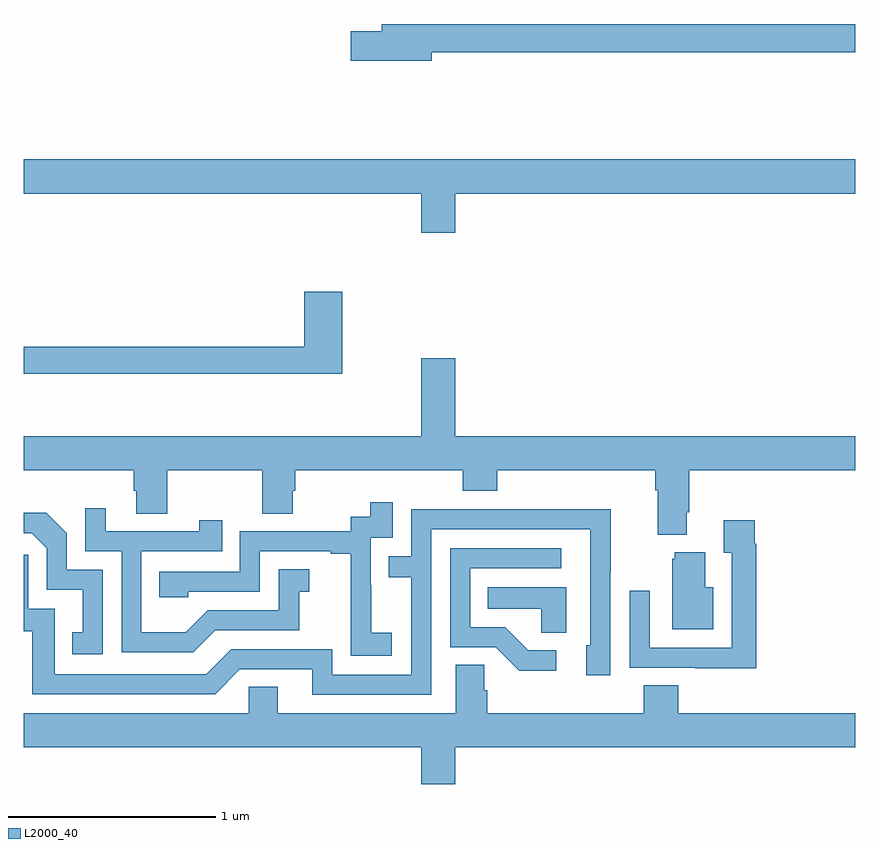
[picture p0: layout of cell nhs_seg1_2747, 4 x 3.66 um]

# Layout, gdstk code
import gdstk
lib = gdstk.Library(unit=1e-6, precision=1e-09)
def P(c, l, *ps):  # polygons
    for p in ps: c.add(gdstk.Polygon(p, *l))
L2000_40 = (2000, 40)

nhs_seg1_2747 = lib.new_cell('nhs_seg1_2747')
P(nhs_seg1_2747, L2000_40, [(260.962,577.72),(263,577.72),(263,577.856),(260.723,577.856),(260.723,577.82),(260.574,577.82),(260.574,577.678),(260.962,577.678)],
  [(261.076,577.04),(263,577.04),(263,577.204),(259,577.204),(259,577.04),(260.912,577.04),(260.912,576.852),(261.076,576.852)],
  [(260.531,576.568),(260.348,576.568),(260.348,576.302),(259,576.302),(259,576.174),(260.531,576.174)],
  [(262.189,575.506),(262.202,575.506),(262.202,575.708),(263,575.708),(263,575.872),(261.076,575.872),(261.076,576.247),(260.912,576.247),(260.912,575.872),(259,575.872),(259,575.708),(259.529,575.708),(259.529,575.61),(259.541,575.61),(259.541,575.5),(259.689,575.5),(259.689,575.708),(260.146,575.708),(260.146,575.5),(260.293,575.5),(260.293,575.61),(260.306,575.61),(260.306,575.708),(261.113,575.708),(261.113,575.609),(261.278,575.609),(261.278,575.708),(262.037,575.708),(262.037,575.612),(262.049,575.612),(262.049,575.399),(262.189,575.399)],
  [(260.77,574.927),(260.672,574.927),(260.672,575.156),(260.67,575.156),(260.67,575.385),(260.775,575.385),(260.775,575.554),(260.666,575.554),(260.666,575.484),(260.574,575.484),(260.574,575.415),(260.04,575.415),(260.04,575.22),(259.651,575.22),(259.651,575.097),(259.791,575.097),(259.791,575.124),(260.136,575.124),(260.136,575.319),(260.477,575.319),(260.477,575.307),(260.573,575.307),(260.573,575.023),(260.572,575.023),(260.572,574.817),(260.77,574.817)],
  [(259.921,574.938),(260.325,574.938),(260.325,575.123),(260.374,575.123),(260.374,575.233),(260.226,575.233),(260.226,575.034),(259.884,575.034),(259.78,574.93),(259.566,574.93),(259.566,575.319),(259.955,575.319),(259.955,575.467),(259.844,575.467),(259.844,575.415),(259.393,575.415),(259.393,575.527),(259.296,575.527),(259.296,575.319),(259.47,575.319),(259.47,574.833),(259.816,574.833)],
  [(260.961,575.424),(261.726,575.424),(261.726,574.866),(261.707,574.866),(261.707,574.722),(261.822,574.722),(261.822,575.215),(261.825,575.215),(261.825,575.522),(261.361,575.522),(261.361,575.52),(260.865,575.52),(260.865,575.295),(260.755,575.295),(260.755,575.194),(260.865,575.194),(260.865,574.725),(260.484,574.725),(260.484,574.848),(259.998,574.848),(259.878,574.728),(259.149,574.728),(259.149,575.043),(259.02,575.043),(259.02,575.302),(259,575.302),(259,574.935),(259.041,574.935),(259.041,574.632),(259.92,574.632),(260.04,574.752),(260.387,574.752),(260.387,574.629),(260.961,574.629)],
  [(259.38,575.229),(259.206,575.229),(259.206,575.406),(259.108,575.504),(259,575.504),(259,575.406),(259.038,575.406),(259.11,575.334),(259.11,575.133),(259.283,575.133),(259.283,574.929),(259.234,574.929),(259.234,574.824),(259.38,574.824)],
  [(262.523,575.354),(262.516,575.354),(262.516,575.467),(262.367,575.467),(262.367,575.311),(262.407,575.311),(262.407,574.854),(262.011,574.854),(262.011,575.128),(261.915,575.128),(261.915,574.758),(262.231,574.758),(262.231,574.757),(262.523,574.757)],
  [(261.562,574.842),(261.427,574.842),(261.316,574.953),(261.147,574.953),(261.147,575.238),(261.586,575.238),(261.586,575.334),(261.051,575.334),(261.051,574.857),(261.27,574.857),(261.383,574.745),(261.562,574.745)],
  [(262.318,575.146),(262.279,575.146),(262.279,575.314),(262.133,575.314),(262.133,575.283),(262.121,575.283),(262.121,574.943),(262.318,574.943)],
  [(261.61,575.146),(261.232,575.146),(261.232,575.042),(261.489,575.042),(261.489,574.927),(261.61,574.927)],
  [(261.076,574.376),(263,574.376),(263,574.54),(262.148,574.54),(262.148,574.673),(261.983,574.673),(261.983,574.54),(261.23,574.54),(261.23,574.649),(261.216,574.649),(261.216,574.772),(261.077,574.772),(261.077,574.54),(260.221,574.54),(260.221,574.667),(260.082,574.667),(260.082,574.54),(259,574.54),(259,574.376),(260.912,574.376),(260.912,574.199),(261.076,574.199)])

lib.write_gds('nhs_seg1_2747.gds')
